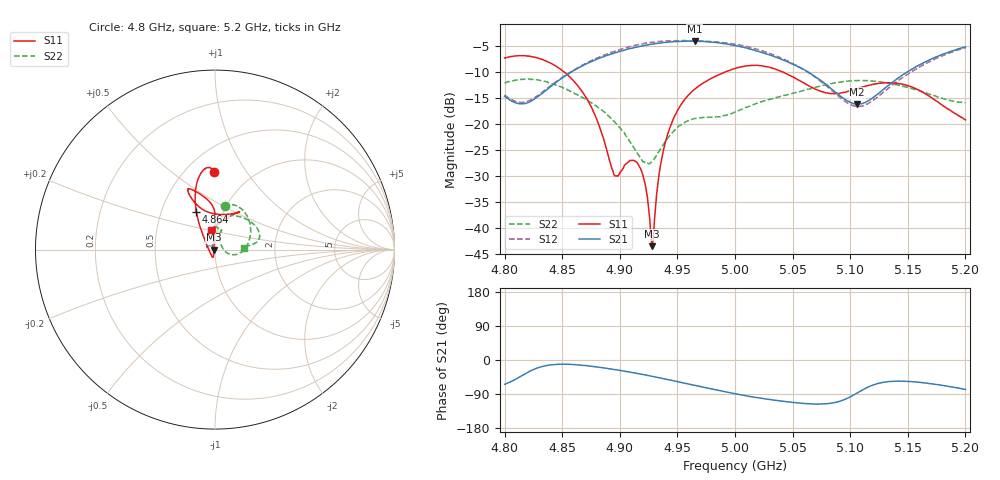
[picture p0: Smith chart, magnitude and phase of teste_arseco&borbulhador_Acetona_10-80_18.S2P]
! Network Analyzer HP8722D
! Hewlett-Packard
! Data name: Linha & Wilkinson
! Saver's name: Rodrigo Anjos
! Comments: Teste da utilização de aquisição
! continua pelo VNA HP8722D
! Time and date: 25/4/2025 15:25
!  Frequency  S11  S21  S12  S22
# HZ  S  MA R 50
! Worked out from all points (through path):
!   401 points, 4.8 GHz to 5.2 GHz, reference 50 ohm
!   highest |S21| = -3.96 dB at 4.965 GHz (marker M1); lowest = -16.1 dB at 5.106 GHz (marker M2)
!   lowest |S11| = -43.5 dB at 4.928 GHz (marker M3), VSWR 1.01, Z = 49.3 - j0.0864 ohm
!   |S11| at or under -10 dB: 4.852 GHz to 4.991 GHz (138.5 MHz wide, 2.81 % of centre); 5.042 GHz to end of sweep
!   |S22| runs from -27.6 to -11.2 dB; largest |S21 - S12| = 1.2
!   S11 on the Smith chart (normalised r, x): 4.8 GHz: 0.68, +0.72; 4.864 GHz: 0.75, +0.33; 5.2 GHz: 0.94, +0.21
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4.8e9  0.4348 90.7  0.1865 -63.9  0.1911 69.6  0.2489 77.3
4.82e9  0.4532 96.8  0.1616 -32.7  0.1671 98.2  0.2718 61.5
4.864e9  0.2316 116.4  0.3497 -13.0  0.3526 120.9  0.1901 12.0
4.867e9  0.2085 118.1  0.364 -14.0  0.3683 120.6  0.1826 8.7
4.88e9  0.1112 128.5  0.4231 -18.4  0.4328 118.3  0.1489 -5.2
4.896e9  0.03174 -165.3  0.4906 -25.6  0.507 113.1  0.1041 -16.0
4.91e9  0.04474 -105.7  0.5382 -32.6  0.5648 107.1  0.06471 -14.0
4.917e9  0.03897 -103.0  0.5619 -36.5  0.5891 103.4  0.04935 -1.3
4.922e9  0.02649 -106.3  0.5751 -39.3  0.6027 100.7  0.04264 15.7
4.928e9  0.00669 -172.5  0.5927 -43.0  0.6189 97.0  0.04385 40.9
4.93e9  0.01157 123.8  0.5968 -44.3  0.6195 95.7  0.04653 48.2
4.934e9  0.03242 98.4  0.6044 -46.9  0.6288 93.2  0.05478 58.6
4.939e9  0.06312 92.7  0.6139 -50.0  0.6348 90.0  0.06704 65.5
4.946e9  0.1093 89.5  0.6246 -54.5  0.6386 85.7  0.08405 70.2
4.965e9  0.218 90.8  0.6338 -67.0  0.6386 73.4  0.1137 71.4
5e9  0.345 109.1  0.5735 -89.0  0.5921 50.8  0.1312 88.5
5.03e9  0.3534 115.0  0.466 -104.2  0.4822 33.8  0.1734 85.4
5.067e9  0.2263 105.2  0.3017 -116.0  0.2988 23.5  0.2225 57.3
5.106e9  0.2202 64.5  0.1561 -87.3  0.1484 55.7  0.2635 24.8
5.134e9  0.2514 57.1  0.2406 -56.7  0.2268 88.6  0.2485 12.3
5.168e9  0.1883 68.9  0.4136 -61.8  0.3969 85.2  0.1959 6.9
5.2e9  0.1106 100.2  0.5563 -77.5  0.5454 70.1  0.1612 3.8
